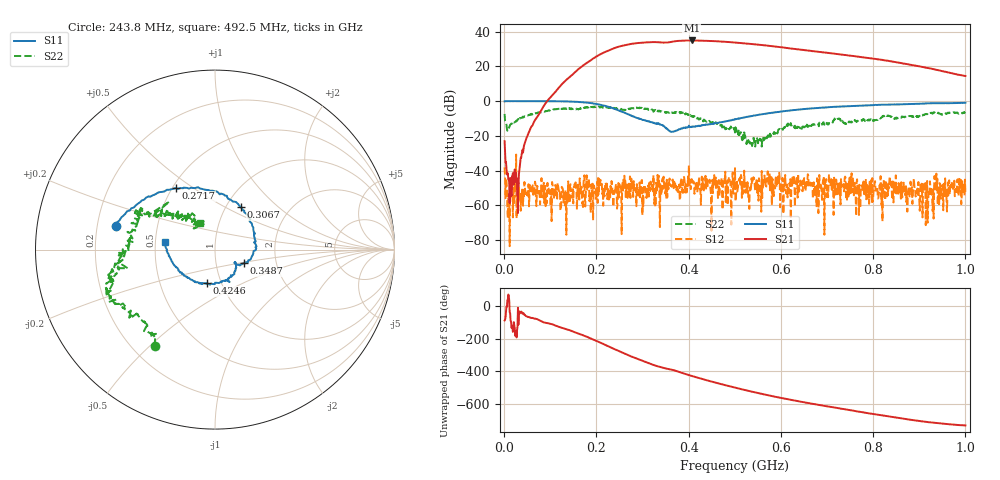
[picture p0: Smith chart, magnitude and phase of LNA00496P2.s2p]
! Created with skrf 1.9.0 (http://scikit-rf.org).
# Hz S RI R 50.0
!freq ReS11 ImS11 ReS21 ImS21 ReS12 ImS12 ReS22 ImS22
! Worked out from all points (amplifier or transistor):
!   1001 points, 1 MHz to 1 GHz, reference 50 ohm
!   highest |S21| = 34.9 dB at 406.6 MHz (marker M1)
!   |S21| within 3 dB of that: 256.9 MHz to 571.6 MHz (314.6 MHz wide, 76 % of centre)
!   unconditionally stable (mu >= 1): 232.9 MHz to 272.7 MHz; 272.8 MHz to 400.2 MHz; 400.9 MHz to end of sweep (the widest 3 of 47)
!   at 166.8 MHz: K = 1.50, MAG = 30.8 dB, |S12| = -50.3 dB
!   at 500.5 MHz: K = 1.03, MAG = 35.1 dB, |S12| = -38.5 dB
!   at 1 GHz: K = 5.87, MAG = 23.1 dB, |S12| = -53.1 dB
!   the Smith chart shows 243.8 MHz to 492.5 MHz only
!   S11 on the Smith chart (normalised r, x): 243.8 MHz: 0.28, +0.11; 271.7 MHz: 0.52, +0.43; 306.7 MHz: 1.17, +0.60; 348.7 MHz: 1.37, -0.22; 424.6 MHz: 0.85, -0.33; 492.5 MHz: 0.56, +0.05
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1000000  0.9891 0.0146  -6.79e-05 -0.0709  -0.0102 -0.0073  0.2858 0.32
1.08892e8  0.5307 -0.8449  -0.8206 -1.523  0.000742 -0.00255  0.424 -0.39
1.67833e8  -0.2156 -0.9096  -9.864 -0.5894  0.00335 0.00035  0.0434 -0.642
2.09791e8  -0.6643 -0.4165  -15.67 16.53  -0.00427 -0.00155  -0.1967 -0.663
2.43757e8  -0.5521 0.1338  0.123 35.34  0.000224 -0.00347  -0.3366 -0.5351
2.71729e8  -0.2173 0.3437  24.57 35.72  -0.00157 0.00133  -0.4929 -0.3253
3.06694e8  0.1432 0.2384  47.01 13.94  -0.00259 0.00144  -0.5916 -0.1618
3.34666e8  0.2299 0.0075  48.74 -9.121  -0.00424 0.00498  -0.5029 -0.0255
3.48652e8  0.1614 -0.0764  45.24 -17.38  -0.00226 0.0007  -0.4768 0.0275
3.75625e8  0.1176 -0.0853  41.27 -34.86  -0.00228 0.000567  -0.4204 0.178
4.06594e8  0.0375 -0.182  21.34 -51.58  0.00148 0.00553  -0.3002 0.2004
4.24576e8  -0.0465 -0.1862  7.384 -54.55  0.00273 -0.000955  -0.2536 0.1946
4.55545e8  -0.1955 -0.1276  -15.06 -51.04  0.00276 0.00697  -0.1841 0.166
4.92508e8  -0.2779 0.0428  -33.94 -36.14  -1.03e-05 -0.000281  -0.0838 0.1482
5.005e8  -0.2929 0.0909  -36.88 -32.09  0.0106 0.00535  -0.0589 0.1105
5.4046e8  -0.2407 0.3009  -42.12 -11.07  0.00568 0.00313  -0.0858 0.0179
5.88412e8  -0.0621 0.4764  -36 9.586  0.00526 -0.00253  -0.0862 -0.0823
6.67333e8  0.3098 0.537  -15.03 23.08  -0.000723 -0.00442  -0.2043 -0.0388
7.55245e8  0.6251 0.3759  2.894 19.79  -0.00169 -0.00174  -0.2593 0.00649
8.34166e8  0.783 0.1561  9.961 10.33  -0.00304 0.000877  -0.3785 0.00842
9.09091e8  0.8461 -0.0963  9.222 2.379  -0.00404 -0.00185  -0.3667 0.1476
1e9  0.82 -0.3697  5.237 -0.8191  0.000459 0.00217  -0.3566 0.332
